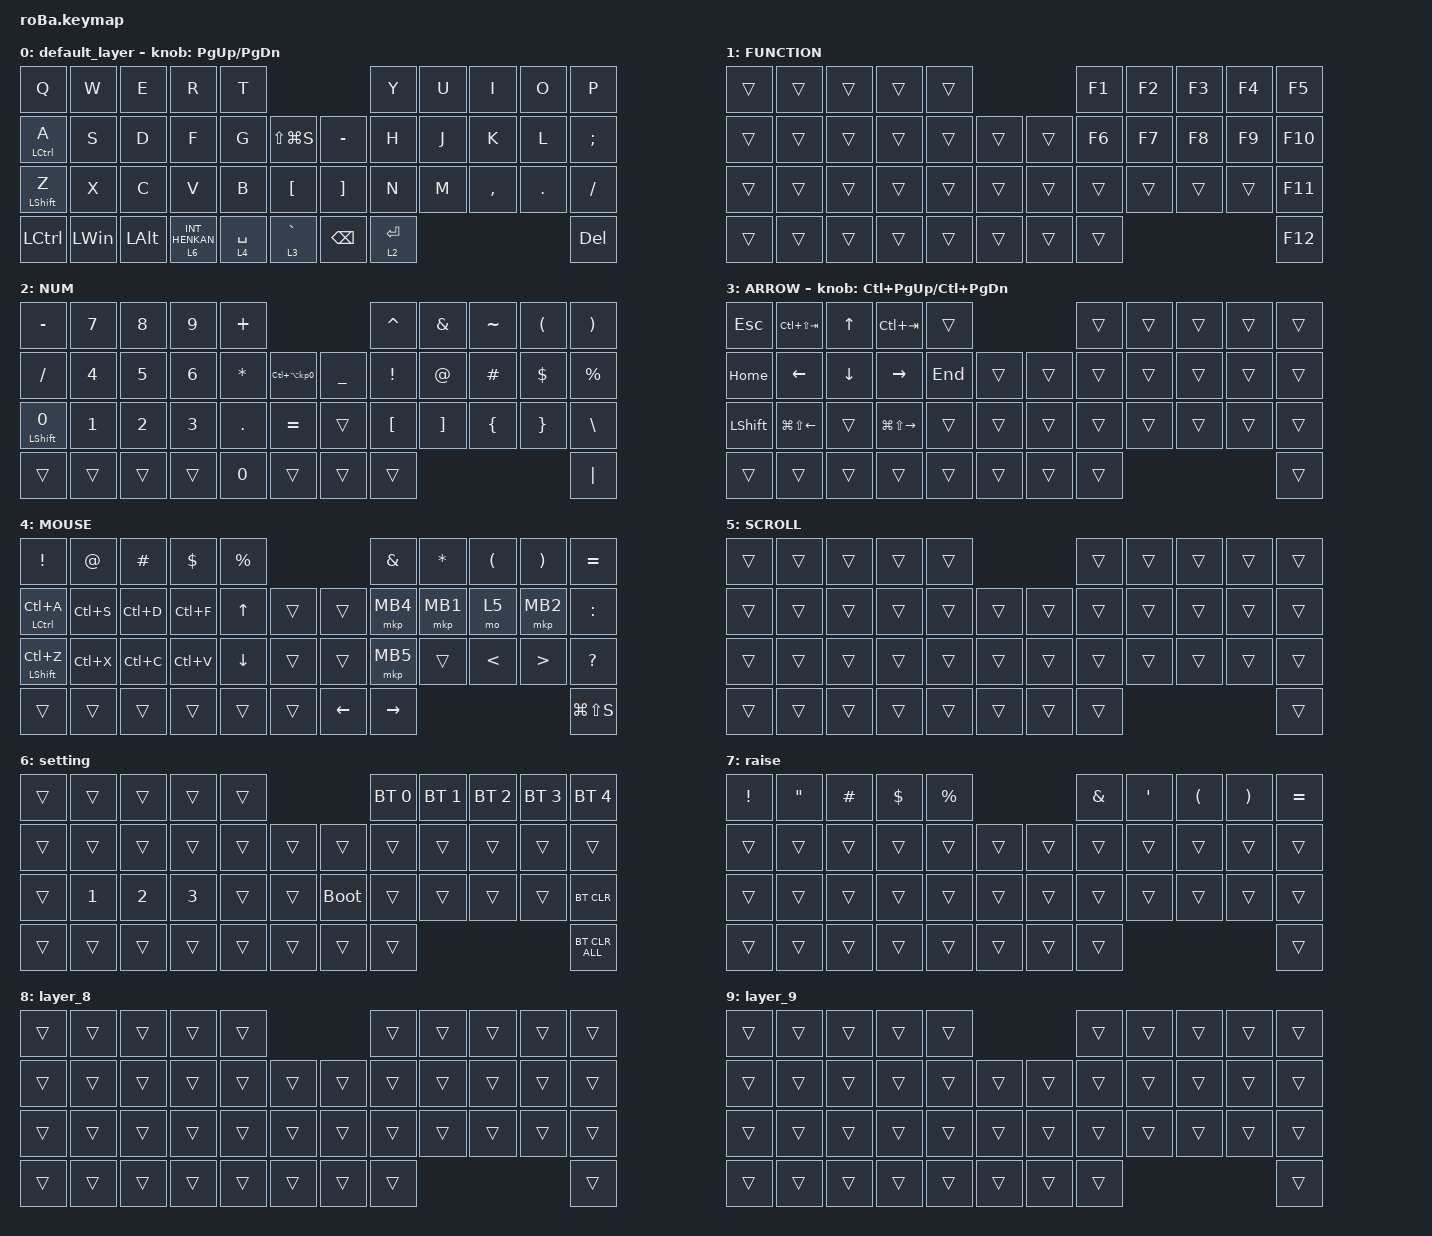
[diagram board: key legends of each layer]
#include <behaviors.dtsi>
#include <dt-bindings/zmk/bt.h>
#include <dt-bindings/zmk/keys.h>
#include <dt-bindings/zmk/mouse.h>

#define MOUSE 4
#define SCROLL 5
#define NUM 6

&mt {
    flavor = "balanced";
    quick-tap-ms = <0>;
};

/ {
    combos {
        compatible = "zmk,combos";

        tab {
            bindings = <&kp TAB>;
            key-positions = <11 12>;
        };

        shift_tab {
            bindings = <&kp LS(TAB)>;
            key-positions = <12 13>;
        };

        muhennkann {
            bindings = <&to_layer_0 INT_MUHENKAN>;
            key-positions = <11 10>;
        };

        double_quotation {
            bindings = <&kp DOUBLE_QUOTES>;
            key-positions = <20 21>;
        };

        eq {
            bindings = <&kp EQUAL>;
            key-positions = <24 25>;
        };
    };

    macros {
        to_layer_0: to_layer_0 {
            compatible = "zmk,behavior-macro-one-param";
            #binding-cells = <1>;
            bindings = <&to 0 &macro_param_1to1 &kp MACRO_PLACEHOLDER>;
            label = "TO_LAYER_0";
        };
    };

    behaviors {
        lt_to_layer_0: lt_to_layer_0 {
            compatible = "zmk,behavior-hold-tap";
            label = "LAYER_TAP_TO_0";
            bindings = <&mo>, <&to_layer_0>;

            #binding-cells = <2>;
            tapping-term-ms = <200>;
        };
    };

    keymap {
        compatible = "zmk,keymap";

        default_layer {
            bindings = <
&kp Q               &kp W         &kp E         &kp R                        &kp T                                                     &kp Y        &kp U  &kp I      &kp O    &kp P
&mt LEFT_CONTROL A  &kp S         &kp D         &kp F                        &kp G        &kp LS(LG(S))             &kp MINUS          &kp H        &kp J  &kp K      &kp L    &kp SEMICOLON
&mt LEFT_SHIFT Z    &kp X         &kp C         &kp V                        &kp B        &kp LBKT                  &kp RIGHT_BRACKET  &kp N        &kp M  &kp COMMA  &kp DOT  &kp SLASH
&kp LCTRL           &kp LEFT_WIN  &kp LEFT_ALT  &lt_to_layer_0 6 INT_HENKAN  &lt 4 SPACE  &lt_to_layer_0 3 GRAVE    &kp BACKSPACE      &lt 2 ENTER                             &kp DEL
            >;

            sensor-bindings = <&inc_dec_kp PG_UP PAGE_DOWN>;
        };

        FUNCTION {
            bindings = <
&trans  &trans  &trans  &trans  &trans                    &kp F1  &kp F2  &kp F3  &kp F4  &kp F5
&trans  &trans  &trans  &trans  &trans  &trans    &trans  &kp F6  &kp F7  &kp F8  &kp F9  &kp F10
&trans  &trans  &trans  &trans  &trans  &trans    &trans  &trans  &trans  &trans  &trans  &kp F11
&trans  &trans  &trans  &trans  &trans  &trans    &trans  &trans                          &kp F12
            >;
        };

        NUM {
            bindings = <
&kp MINUS          &kp NUMBER_7  &kp NUMBER_8  &kp NUMBER_9  &kp PLUS                                                 &kp CARET         &kp AMPERSAND      &kp TILDE       &kp LEFT_PARENTHESIS  &kp RIGHT_PARENTHESIS
&kp SLASH          &kp NUMBER_4  &kp NUMBER_5  &kp NUMBER_6  &kp ASTERISK  &kp LC(LA(KP_NUMBER_0))    &kp UNDERSCORE  &kp EXCLAMATION   &kp AT_SIGN        &kp HASH        &kp DOLLAR            &kp PERCENT
&mt LEFT_SHIFT N0  &kp NUMBER_1  &kp NUMBER_2  &kp NUMBER_3  &kp PERIOD    &kp EQUAL                  &trans          &kp LEFT_BRACKET  &kp RIGHT_BRACKET  &kp LEFT_BRACE  &kp RIGHT_BRACE       &kp BACKSLASH
&trans             &trans        &trans        &trans        &kp NUMBER_0  &trans                     &trans          &trans                                                                     &kp PIPE
            >;
        };

        ARROW {
            bindings = <
&kp ESCAPE      &kp LC(LS(TAB))         &kp UP_ARROW    &kp LC(TAB)              &trans                     &trans  &trans  &trans  &trans  &trans
&kp HOME        &kp LEFT_ARROW          &kp DOWN_ARROW  &kp RIGHT_ARROW          &kp END  &trans    &trans  &trans  &trans  &trans  &trans  &trans
&kp LEFT_SHIFT  &kp LG(LS(LEFT_ARROW))  &trans          &kp LG(LS(RIGHT_ARROW))  &trans   &trans    &trans  &trans  &trans  &trans  &trans  &trans
&trans          &trans                  &trans          &trans                   &trans   &trans    &trans  &trans                          &trans
            >;

            sensor-bindings = <&inc_dec_kp LC(PAGE_UP) LC(PAGE_DOWN)>;
        };

        MOUSE {
            bindings = <
&kp EXCLAMATION         &kp AT     &kp HASH   &kp DOLLAR  &kp PERCENT                             &kp AMPERSAND  &kp ASTRK  &kp LEFT_PARENTHESIS  &kp RIGHT_PARENTHESIS  &kp EQUAL
&mt LEFT_CONTROL LC(A)  &kp LC(S)  &kp LC(D)  &kp LC(F)   &kp UP_ARROW  &trans    &trans          &mkp MB4       &mkp MB1   &mo 5                 &mkp MB2               &kp COLON
&mt LEFT_SHIFT LC(Z)    &kp LC(X)  &kp LC(C)  &kp LC(V)   &kp DOWN      &trans    &trans          &mkp MB5       &trans     &kp LT                &kp GT                 &kp QUESTION
&trans                  &trans     &trans     &trans      &trans        &trans    &kp LEFT_ARROW  &kp RIGHT                                                              &kp LG(LS(S))
            >;
        };

        SCROLL {
            bindings = <
&trans  &trans  &trans  &trans  &trans                    &trans  &trans  &trans  &trans  &trans
&trans  &trans  &trans  &trans  &trans  &trans    &trans  &trans  &trans  &trans  &trans  &trans
&trans  &trans  &trans  &trans  &trans  &trans    &trans  &trans  &trans  &trans  &trans  &trans
&trans  &trans  &trans  &trans  &trans  &trans    &trans  &trans                          &trans
            >;
        };

        setting {
            bindings = <
&trans  &trans        &trans        &trans        &trans                         &bt BT_SEL 0  &bt BT_SEL 1  &bt BT_SEL 2  &bt BT_SEL 3  &bt BT_SEL 4
&trans  &trans        &trans        &trans        &trans  &trans    &trans       &trans        &trans        &trans        &trans        &trans
&trans  &kp NUMBER_1  &kp NUMBER_2  &kp NUMBER_3  &trans  &trans    &bootloader  &trans        &trans        &trans        &trans        &bt BT_CLR
&trans  &trans        &trans        &trans        &trans  &trans    &trans       &trans                                                  &bt BT_CLR_ALL
            >;
        };

        raise {
            bindings = <
&kp EXCLAMATION  &kp DOUBLE_QUOTES  &kp HASH  &kp DOLLAR  &kp PERCENT                    &kp AMPERSAND  &kp SQT  &kp LEFT_PARENTHESIS  &kp RIGHT_PARENTHESIS  &kp EQUAL
&trans           &trans             &trans    &trans      &trans       &trans    &trans  &trans         &trans   &trans                &trans                 &trans
&trans           &trans             &trans    &trans      &trans       &trans    &trans  &trans         &trans   &trans                &trans                 &trans
&trans           &trans             &trans    &trans      &trans       &trans    &trans  &trans                                                               &trans
            >;
        };

        layer_8 {
            bindings = <
&trans  &trans  &trans  &trans  &trans                    &trans  &trans  &trans  &trans  &trans
&trans  &trans  &trans  &trans  &trans  &trans    &trans  &trans  &trans  &trans  &trans  &trans
&trans  &trans  &trans  &trans  &trans  &trans    &trans  &trans  &trans  &trans  &trans  &trans
&trans  &trans  &trans  &trans  &trans  &trans    &trans  &trans                          &trans
            >;
        };

        layer_9 {
            bindings = <
&trans  &trans  &trans  &trans  &trans                    &trans  &trans  &trans  &trans  &trans
&trans  &trans  &trans  &trans  &trans  &trans    &trans  &trans  &trans  &trans  &trans  &trans
&trans  &trans  &trans  &trans  &trans  &trans    &trans  &trans  &trans  &trans  &trans  &trans
&trans  &trans  &trans  &trans  &trans  &trans    &trans  &trans                          &trans
            >;
        };
    };
};
